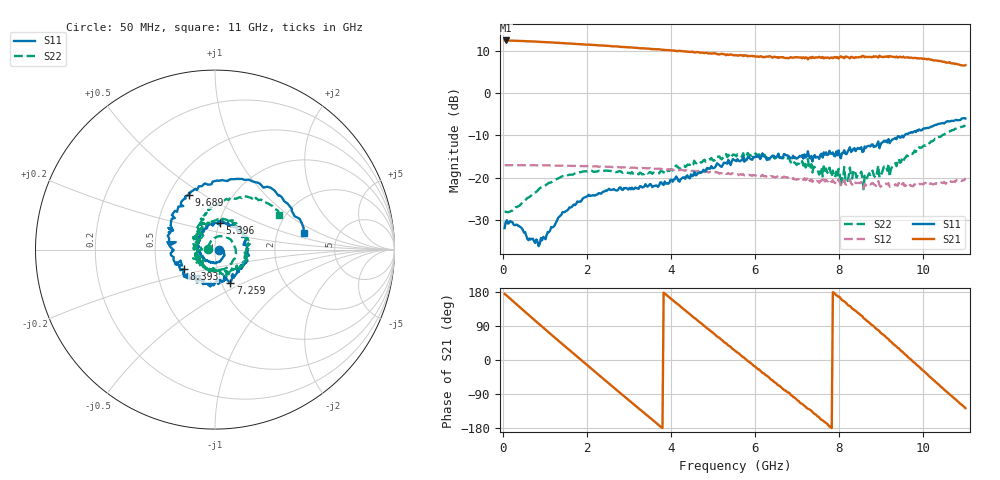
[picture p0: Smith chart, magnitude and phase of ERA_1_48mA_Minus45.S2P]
! Mini-Circuits
! S2P DATA File Format
! Type: MMIC Amplifier
! Model: ERA-1  Reference Data:RDF-960
! Note: All S Parameters are in dB deg format
! TEST CONDITIONS: INPUT POWER = -15dBm, Icc = 48mA, Vd = 3.67V @Temperature = -45degC
# MHz S DB R 50
!  FREQ  dB(S11)  PHS(S11)  dB(S21)  PHS(S21)  dB(S12)  PHS(S12)  dB(S22)  PHS(S22)
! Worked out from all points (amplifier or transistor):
!   401 points, 50 MHz to 11 GHz, reference 50 ohm
!   highest |S21| = 12.6 dB at 77 MHz (marker M1)
!   |S21| within 3 dB of that: start of sweep to 4.795 GHz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
!   unconditionally stable (mu >= 1): start of sweep to end of sweep
!   at 1.832 GHz: K = 1.20, MAG = 11.8 dB, |S12| = -17.3 dB
!   at 5.45 GHz: K = 1.65, MAG = 9.4 dB, |S12| = -19.0 dB
!   at 11 GHz: K = 1.61, MAG = 8.8 dB, |S12| = -20.1 dB
!   S11 on the Smith chart (normalised r, x): 50 MHz: 1.05, -0.01; 5.396 GHz: 1.01, +0.30; 7.259 GHz: 1.10, -0.43; 8.393 GHz: 0.69, -0.16; 9.689 GHz: 0.63, +0.43; 11 GHz: 2.83, +0.69
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50  -32.00 -7.4  12.55 174.6  -17.07 -4.1  -28.14 171.4
77  -30.57 -1.2  12.57 172.2  -17.07 -6.0  -28.12 167.6
563  -33.75 -16.2  12.38 124.5  -17.07 -42.5  -25.17 111.2
941  -34.91 7.5  12.20 88.1  -17.09 -71.0  -22.19 74.8
1454  -28.22 8.7  11.92 39.2  -17.17 -109.7  -19.60 30.7
1886  -25.34 -21.8  11.65 -1.6  -17.27 -142.6  -18.64 -6.7
2372  -23.51 -59.5  11.38 -47.3  -17.39 -179.4  -18.50 -45.7
2777  -22.40 -89.3  11.07 -85.2  -17.58 149.6  -18.47 -81.9
3182  -22.54 -119.3  10.82 -122.7  -17.72 118.9  -19.12 -119.7
3722  -21.87 -154.1  10.49 -172.5  -17.87 78.0  -19.02 -170.2
4586  -19.46 139.4  9.77 109.3  -18.56 12.5  -16.54 109.4
5396  -16.51 79.5  9.15 36.6  -19.11 -49.5  -14.91 54.2
5531  -15.92 70.2  9.05 24.2  -19.12 -59.8  -14.68 46.4
6503  -15.08 -4.9  8.57 -61.1  -19.91 -133.0  -15.11 -17.7
7259  -13.74 -65.4  8.08 -128.6  -19.84 170.1  -15.58 -67.4
7367  -16.18 -70.3  8.69 -137.1  -21.04 163.3  -18.80 -79.3
7907  -14.95 -111.3  8.62 174.6  -21.32 121.2  -19.93 -129.4
8393  -13.72 -148.2  8.62 130.0  -21.28 85.5  -19.17 -169.2
9203  -11.83 155.5  8.89 50.7  -22.16 24.9  -19.83 129.9
9689  -9.40 115.7  8.49 3.0  -21.74 -4.7  -14.49 111.7
10373  -7.25 61.2  7.73 -65.2  -21.29 -50.9  -10.32 70.7
11003  -5.97 10.5  6.70 -126.9  -20.12 -94.6  -7.87 28.5
